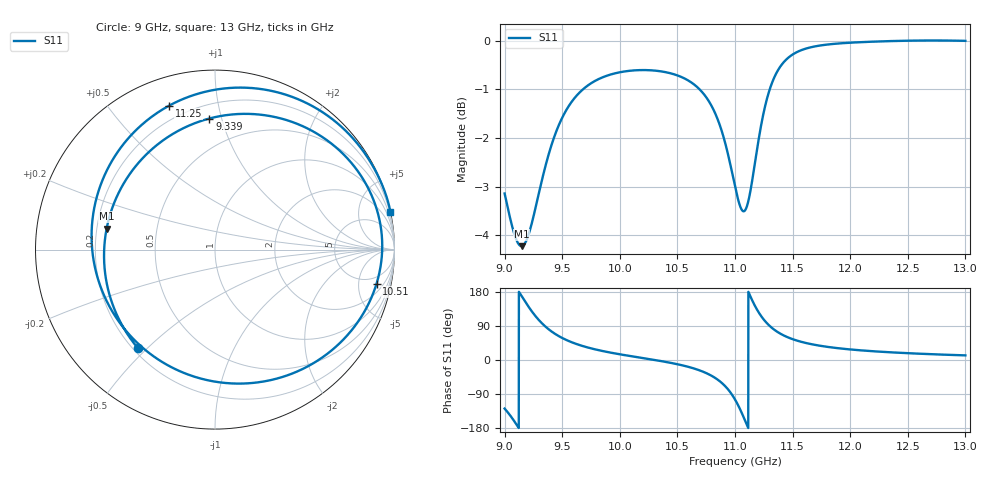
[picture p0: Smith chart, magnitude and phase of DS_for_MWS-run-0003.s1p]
! TOUCHSTONE file generated by CST DESIGN STUDIO
! Date and time: Tue Feb  4 18:21:08 2025
! Project name: C:\Work\MatlabApps\UnitCellOptimizationMatlab\CST\unitcell.cst
! Tree item: Tasks\Sweep1\SPara1\S-Parameters
! Header version: 2024
! Port assignment regex: !\s*Touchstone port\s*([0-9]+)\s*=\s*(CST MWS port|CST DES external port|CST DES block port)\s*(.+)\s* \(\"(.*)\"\)(\s*mode\s*([0-9]+))?.*
! Touchstone port assignment:
! Touchstone port 1 = CST DES external port 1 ("")
# GHz S MA R 50
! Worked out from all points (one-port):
!   4001 points, 9 GHz to 13 GHz, reference 50 ohm
!   lowest |S11| = -4.2 dB at 9.147 GHz (marker M1), VSWR 4.20, Z = 12 + j4.54 ohm
!   |S11| at or under -10 dB: nowhere
!   S11 on the Smith chart (normalised r, x): 9 GHz: 0.22, -0.47; 9.339 GHz: 0.29, +0.91; 10.51 GHz: 3.33, -8.23; 11.25 GHz: 0.13, +0.72; 13 GHz: 0.03, +9.36
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9  0.6966 -128.2
9.083  0.6337 -161.1
9.147  0.615 169.0
9.246  0.6563 124.4
9.339  0.731 92.5
9.5  0.8333 58.1
9.707  0.8965 34.2
10  0.9278 15.1
10.5  0.9209 -11.1
10.512  0.9198 -11.9
10.685  0.8929 -26.5
10.81  0.8508 -43.9
10.907  0.7911 -66.7
10.958  0.7474 -84.6
11  0.7086 -104.1
11.055  0.6714 -137.2
11.09  0.6701 -161.6
11.121  0.6884 176.4
11.153  0.7227 155.1
11.188  0.7687 134.6
11.247  0.8416 107.7
11.3  0.89 90.2
11.367  0.9296 74.4
11.5  0.9676 55.0
11.698  0.9865 39.7
12  0.995 27.9
12.5  0.9997 18.0
13  0.9994 12.2
